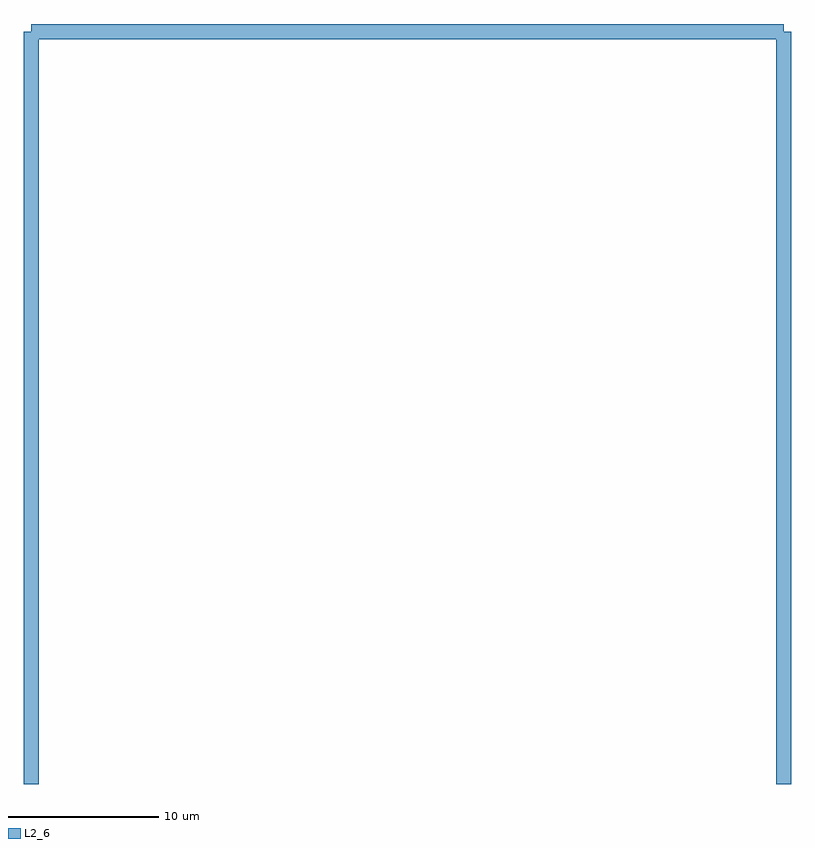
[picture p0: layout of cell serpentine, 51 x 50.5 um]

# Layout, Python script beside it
import gdspy

# Define the library and cell for the GDS layout
lib = gdspy.GdsLibrary()
cell = lib.new_cell('serpentine')

# Define the path width, number of turns, segment length, and start position
width = 1  # in micrometers
turns = 15
segment_length = 50  # in micrometers
start_pos = (0, 0)

# Initialize the path
path = gdspy.Path(width, start_pos)

# Create the serpentine pattern
for i in range(turns):
    # Move up
    path.segment(segment_length, direction='+y', layer=2, datatype=6)
    # Move right
    if i % 2 == 0:
        path.segment(segment_length, direction='+x', layer=2, datatype=6)
    # Move left
    else:
        path.segment(segment_length, direction='-x', layer=2, datatype=6)
    # Move down
    path.segment(segment_length, direction='-y', layer=2, datatype=6)

# Add the path to the cell
cell.add(path)

# Save the design to a GDS file
lib.write_gds('serpentine.gds')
